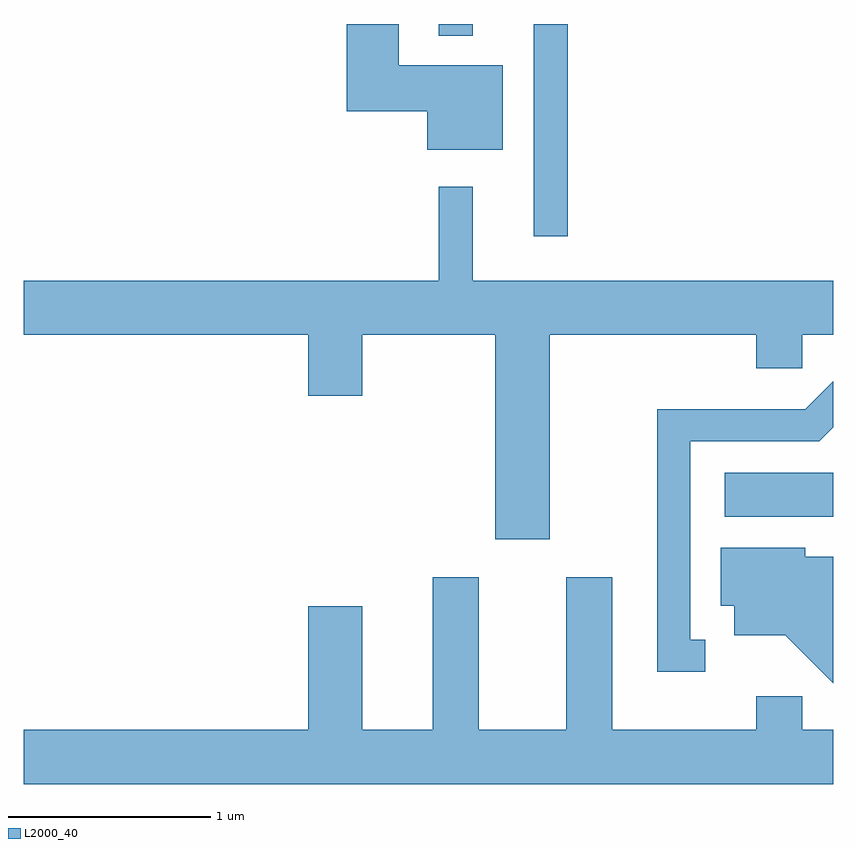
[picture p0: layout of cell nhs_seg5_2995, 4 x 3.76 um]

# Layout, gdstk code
import gdstk
lib = gdstk.Library(unit=1e-6, precision=1e-09)
def R(c, l, rs):  # rectangles x0, y0, x1, y1
    for r in rs: c.add(gdstk.rectangle(r[:2], r[2:], *l))
def P(c, l, *ps):  # polygons
    for p in ps: c.add(gdstk.Polygon(p, *l))
L2000_40 = (2000, 40)

nhs_seg5_2995 = lib.new_cell('nhs_seg5_2995')
R(nhs_seg5_2995, L2000_40, [(277.076,1493.636,277.611,1493.854), (276.131,1495.023,276.299,1496.072), (275.661,1496.013,275.829,1496.072)])
P(nhs_seg5_2995, L2000_40, [(275.979,1495.869),(275.464,1495.869),(275.464,1496.072),(275.206,1496.072),(275.206,1495.641),(275.606,1495.641),(275.606,1495.451),(275.979,1495.451)],
  [(276.209,1494.536),(277.231,1494.536),(277.231,1494.371),(277.459,1494.371),(277.459,1494.536),(277.611,1494.536),(277.611,1494.804),(275.829,1494.804),(275.829,1495.268),(275.661,1495.268),(275.661,1494.804),(273.611,1494.804),(273.611,1494.536),(275.016,1494.536),(275.016,1494.236),(275.284,1494.236),(275.284,1494.536),(275.941,1494.536),(275.941,1493.526),(276.209,1493.526)],
  [(276.978,1493.029),(276.904,1493.029),(276.904,1494.011),(277.542,1494.011),(277.611,1494.08),(277.611,1494.306),(277.474,1494.169),(276.741,1494.169),(276.741,1492.871),(276.978,1492.871)],
  [(277.611,1493.439),(277.474,1493.439),(277.474,1493.484),(277.056,1493.484),(277.056,1493.196),(277.121,1493.196),(277.121,1493.051),(277.374,1493.051),(277.611,1492.814)],
  [(277.611,1492.584),(277.459,1492.584),(277.459,1492.749),(277.231,1492.749),(277.231,1492.584),(276.519,1492.584),(276.519,1493.339),(276.291,1493.339),(276.291,1492.584),(275.859,1492.584),(275.859,1493.339),(275.631,1493.339),(275.631,1492.584),(275.284,1492.584),(275.284,1493.194),(275.016,1493.194),(275.016,1492.584),(273.611,1492.584),(273.611,1492.316),(277.611,1492.316)])

lib.write_gds('nhs_seg5_2995.gds')
